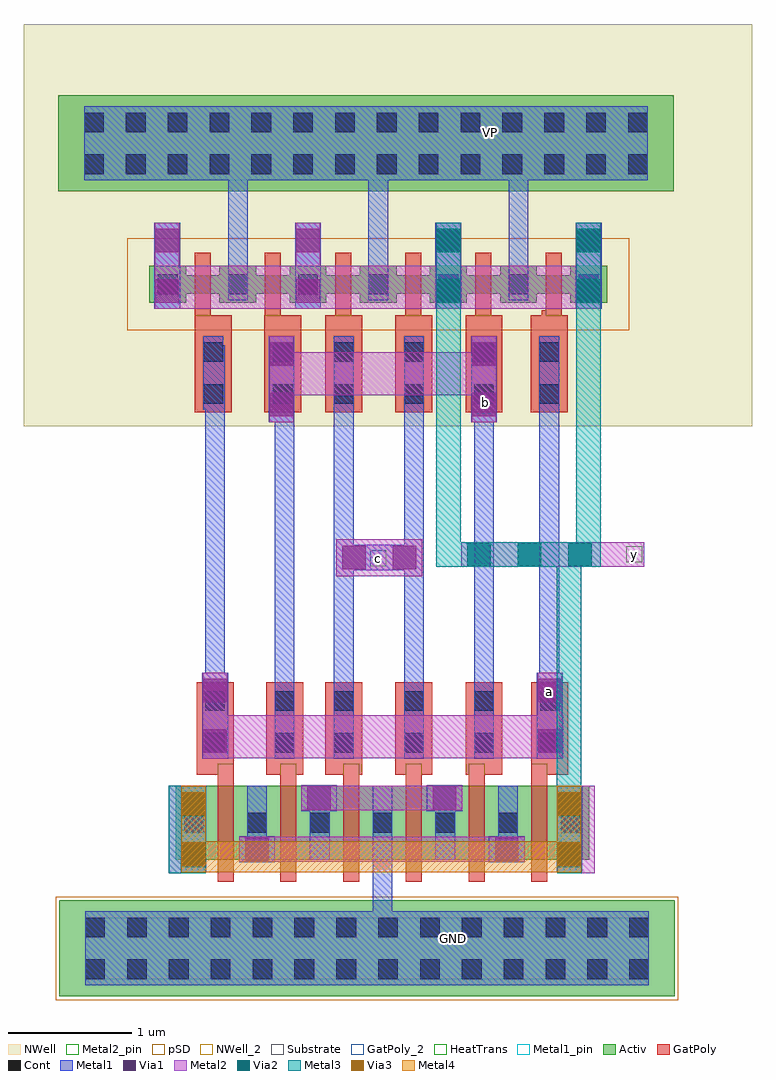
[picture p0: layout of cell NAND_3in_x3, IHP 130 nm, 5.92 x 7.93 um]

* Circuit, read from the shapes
.subckt NAND_3in_x3 GND VP a b c y
XM1 n1 a y GND sg13_lv_nmos w=0.6u l=0.13u m=2
XM2 n2 b n1 GND sg13_lv_nmos w=0.6u l=0.13u m=2
XM3 GND c n2 GND sg13_lv_nmos w=0.6u l=0.13u m=2
XM4 VP a y VP sg13_lv_pmos w=0.15u l=0.13u m=2
XM5 y b VP VP sg13_lv_pmos w=0.15u l=0.13u m=2
XM6 VP c y VP sg13_lv_pmos w=0.15u l=0.13u m=2
.ends

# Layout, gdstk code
from math import pi, radians
import gdstk
lib = gdstk.Library(unit=1e-6, precision=1e-09)
def R(c, l, rs):  # rectangles x0, y0, x1, y1
    for r in rs: c.add(gdstk.rectangle(r[:2], r[2:], *l))
def A(c, l, x, y, w, h, nx, ny, dx, dy):  # array of equal rectangles
    R(c, l, [(x+i*dx, y+j*dy, x+i*dx+w, y+j*dy+h) for i in range(nx) for j in range(ny)])
Activ = (1, 0)
GatPoly = (5, 0)
GatPoly_2 = (5, 2)
Cont = (6, 0)
Metal1 = (8, 0)
Metal1_pin = (8, 2)
Metal2 = (10, 0)
Metal2_pin = (10, 2)
pSD = (14, 0)
Via1 = (19, 0)
Via2 = (29, 0)
Metal3 = (30, 0)
NWell = (31, 0)
NWell_2 = (31, 2)
Substrate = (40, 0)
Via3 = (49, 0)
Metal4 = (50, 0)
HeatTrans = (51, 0)

via = lib.new_cell('Via')
R(via, Metal1, [(-0.105,-0.35,0.105,0.35)])
R(via, Metal2, [(-0.1,-0.35,0.1,0.35)])
R(via, Via1, [(-0.095,-0.3,0.095,-0.11), (-0.095,0.11,0.095,0.3)])

via_1 = lib.new_cell('Via$1')
R(via_1, Metal2, [(-0.1,-0.555,0.1,0.555)])
A(via_1, Via2, -0.095, -0.505, 0.19, 0.19, 1, 3, 0, 0.41)
R(via_1, Metal3, [(-0.1,-0.555,0.1,0.555)])

nmos = lib.new_cell('nmos')
A(nmos, Activ, 0, 0, 0.3, 0.3, 7, 1, 0.51, 0)
R(nmos, Activ, [(0,0,3.36,0.6)])
A(nmos, GatPoly, 0.34, -0.18, 0.13, 0.96, 6, 1, 0.51, 0)
R(nmos, GatPoly_2, [(0.34,-0.18,0.47,0.78)])
A(nmos, Cont, 0.07, 0.22, 0.16, 0.16, 7, 1, 0.51, 0)
A(nmos, Metal1, 0.07, 0, 0.16, 0.6, 7, 1, 0.51, 0)
R(nmos, Metal1_pin, [(0.07,0,0.23,0.6), (0.58,0,0.74,0.6)])
A(nmos, HeatTrans, 0.34, -0.18, 0.13, 0.96, 6, 1, 0.51, 0)
nmos.add(gdstk.Label('nmos', (0.405,0.3), layer=63, texttype=0))
nmos.add(gdstk.Label('nmos', (0.405,0.3), layer=51, texttype=0))
nmos.add(gdstk.Label('nmos', (0.915,0.3), layer=51, texttype=0))
nmos.add(gdstk.Label('nmos', (1.425,0.3), layer=51, texttype=0))
nmos.add(gdstk.Label('nmos', (1.935,0.3), layer=51, texttype=0))
nmos.add(gdstk.Label('nmos', (2.445,0.3), layer=51, texttype=0))
nmos.add(gdstk.Label('nmos', (2.955,0.3), layer=51, texttype=0))

ntap1 = lib.new_cell('ntap1')
R(ntap1, Activ, [(0,0,5,0.78)])
A(ntap1, Cont, 0.21, 0.14, 0.16, 0.16, 14, 2, 0.34, 0.34)
R(ntap1, Metal1, [(0.21,0.09,4.79,0.69)])
R(ntap1, Metal1_pin, [(0.21,0.09,4.79,0.69), (0.21,0.14,4.79,0.64)])
R(ntap1, NWell, [(-0.24,-0.24,5.24,1.02), (0,0,5,0.78)])
R(ntap1, NWell_2, [(0,0,5,0.78)])
ntap1.add(gdstk.Label('well', (2.5,0.01), layer=63, texttype=0))
ntap1.add(gdstk.Label('well', (2.5,0.01), layer=31, texttype=0))

ptap1 = lib.new_cell('ptap1')
R(ptap1, Activ, [(0,0,5,0.78)])
A(ptap1, Cont, 0.21, 0.14, 0.16, 0.16, 14, 2, 0.34, 0.34)
R(ptap1, Metal1, [(0.21,0.09,4.79,0.69), (0.21,0.14,4.79,0.64)])
R(ptap1, Metal1_pin, [(0.21,0.14,4.79,0.64)])
R(ptap1, pSD, [(-0.03,-0.03,5.03,0.81)])
R(ptap1, Substrate, [(0,0,5,0.78)])
ptap1.add(gdstk.Label('sub!', (2.5,0.01), layer=63, texttype=0))
ptap1.add(gdstk.Label('sub!', (2.5,0.01), layer=40, texttype=0))

via_4 = lib.new_cell('Via$4')
R(via_4, Metal3, [(-0.1,-0.35,0.1,0.35)])
R(via_4, Via3, [(-0.095,-0.3,0.095,-0.11), (-0.095,0.11,0.095,0.3)])
R(via_4, Metal4, [(-0.1,-0.35,0.1,0.35)])

via_2 = lib.new_cell('Via$2')
R(via_2, Metal2, [(-0.1,-0.35,0.1,0.35)])
R(via_2, Via2, [(-0.095,-0.3,0.095,-0.11), (-0.095,0.11,0.095,0.3)])
R(via_2, Metal3, [(-0.1,-0.35,0.1,0.35)])

via_3 = lib.new_cell('Via$3')
R(via_3, GatPoly, [(-0.32,-0.15,0.32,0.15)])
R(via_3, Cont, [(-0.25,-0.08,-0.09,0.08), (0.09,-0.08,0.25,0.08)])
R(via_3, Metal1, [(-0.3,-0.08,0.3,0.08)])

pmos = lib.new_cell('pmos')
A(pmos, Activ, 0, 0, 0.3, 0.3, 7, 1, 0.57, 0)
R(pmos, Activ, [(0,0.075,3.72,0.225)])
A(pmos, GatPoly, 0.37, -0.105, 0.13, 0.51, 6, 1, 0.57, 0)
R(pmos, GatPoly, [(0.37,-0.105,0.5,0.405)])
A(pmos, Cont, 0.07, 0.07, 0.16, 0.16, 7, 1, 0.57, 0)
A(pmos, Metal1, 0.64, 0.02, 0.16, 0.26, 6, 1, 0.57, 0)
R(pmos, Metal1, [(0.07,0.02,0.23,0.28), (0.07,0.02,0.23,0.28), (0.64,0.02,0.8,0.28)])
R(pmos, pSD, [(-0.18,-0.225,3.9,0.525)])
R(pmos, NWell, [(-0.31,-0.31,4.03,0.61)])
A(pmos, HeatTrans, 0.37, -0.105, 0.13, 0.51, 6, 1, 0.57, 0)
pmos.add(gdstk.Label('pmos', (0.435,0.15), layer=63, texttype=0))
pmos.add(gdstk.Label('pmos', (0.435,0.15), layer=51, texttype=0))
pmos.add(gdstk.Label('pmos', (1.005,0.15), layer=51, texttype=0))
pmos.add(gdstk.Label('pmos', (1.575,0.15), layer=51, texttype=0))
pmos.add(gdstk.Label('pmos', (2.145,0.15), layer=51, texttype=0))
pmos.add(gdstk.Label('pmos', (2.715,0.15), layer=51, texttype=0))
pmos.add(gdstk.Label('pmos', (3.285,0.15), layer=51, texttype=0))

via_5 = lib.new_cell('Via$5')
R(via_5, Metal1, [(-0.145,-0.105,0.145,0.105)])
R(via_5, Metal2, [(-0.145,-0.1,0.145,0.1)])
R(via_5, Via1, [(-0.095,-0.095,0.095,0.095)])

nand_3in_x3 = lib.new_cell('NAND_3in_x3')
A(nand_3in_x3, GatPoly, -0.54, -2.93, 0.3, 0.11, 3, 1, 0.57, 0)
A(nand_3in_x3, GatPoly, -0.54, 0.655, 0.3, 0.15, 3, 1, 0.57, 0)
R(nand_3in_x3, GatPoly, [(-1.585,-2.93,-1.285,-2.82), (-1.02,-2.93,-0.72,-2.82), (1.135,-2.93,1.435,-2.82), (-1.6,0.655,-1.3,0.805), (-1.035,0.655,-0.735,0.805), (1.13,0.655,1.43,0.805), (0.68,0.755,0.81,0.845), (1.22,0.755,1.35,0.845)])
R(nand_3in_x3, Metal1, [(-0.155,-4.075,0.005,-3.295), (-1.515,-2.44,-1.355,0.56), (-0.95,-2.44,-0.79,0.05), (0.67,-2.44,0.83,0.05), (-0.47,-2.38,-0.31,0.175), (0.1,-2.38,0.26,0.245), (1.2,-2.21,1.36,-1.27), (1.2,-1.31,1.36,-0.37), (1.2,-0.455,1.36,0.075), (0.95,1.005,1.11,2.015), (-1.33,1.07,-1.17,2.065), (-0.19,1.075,-0.03,2.065)])
R(nand_3in_x3, Metal1_pin, [(0.44,-4.33,0.57,-4.2), (0.74,2.225,0.87,2.355)])
R(nand_3in_x3, Metal2, [(-1.81,-3.73,-1.7,-3.02), (1.54,-3.73,1.65,-3.02), (-1.005,-3.635,1.015,-3.435), (-0.53,-3.22,0.43,-3.02), (-1.475,-2.795,1.395,-2.445), (-0.45,-1.315,0.25,-1.015), (1.62,-1.24,2.05,-1.04), (-0.895,0.155,0.83,0.505), (-1.925,0.855,1.7,1.205)])
R(nand_3in_x3, Metal2_pin, [(1.225,-2.31,1.355,-2.18), (-0.175,-1.235,-0.045,-1.105), (1.905,-1.205,2.035,-1.075), (0.69,0.005,0.82,0.135), (0.69,0.005,0.82,0.135)])
R(nand_3in_x3, Metal3, [(-1.81,-3.73,-1.71,-3.02), (1.34,-3.03,1.54,-2.83), (1.34,-2.83,1.54,-2.425), (1.34,-2.5,1.54,-1.15), (0.36,-1.24,0.56,-0.97), (0.38,-1.24,0.565,-1.04), (1.66,-1.24,1.7,-1.09), (1.5,-1.09,1.7,0.17), (0.36,-0.97,0.56,0.26), (1.5,0.045,1.7,1.02), (0.36,0.155,0.56,0.855)])
R(nand_3in_x3, NWell, [(-2.99,-0.1,2.93,3.17)])
R(nand_3in_x3, Metal4, [(-1.7,-3.72,1.54,-3.47)])
nand_3in_x3.add(gdstk.Reference(via, (1.285,-2.45), rotation=pi))
nand_3in_x3.add(gdstk.Reference(via, (0.75,0.285), rotation=pi))
nand_3in_x3.add(gdstk.Reference(via, (0.46,1.205), rotation=pi))
nand_3in_x3.add(gdstk.Reference(via, (1.6,1.205), rotation=pi))
nand_3in_x3.add(gdstk.Reference(via_1, (1.12,-1.14), rotation=3*pi/2))
nand_3in_x3.add(gdstk.Reference(nmos, (1.605,-3.02), rotation=pi))
nand_3in_x3.add(gdstk.Reference(ntap1, (-2.71,1.81)))
nand_3in_x3.add(gdstk.Reference(ptap1, (-2.7,-4.73)))
nand_3in_x3.add(gdstk.Reference(via_4, (1.44,-3.37), rotation=pi))
nand_3in_x3.add(gdstk.Reference(via_2, (0.46,1.205), rotation=pi))
nand_3in_x3.add(gdstk.Reference(via_2, (1.6,1.205), rotation=pi))
nand_3in_x3.add(gdstk.Reference(via_3, (0.75,-2.5), rotation=3*pi/2))
nand_3in_x3.add(gdstk.Reference(via_3, (1.285,-2.5), rotation=3*pi/2))
nand_3in_x3.add(gdstk.Reference(via_3, (0.75,0.335), rotation=3*pi/2))
nand_3in_x3.add(gdstk.Reference(via_3, (1.28,0.335), rotation=3*pi/2))
nand_3in_x3.add(gdstk.Reference(pmos, (1.75,1.205), rotation=pi))
nand_3in_x3.add(gdstk.Reference(via_3, (0.18,0.335), rotation=3*pi/2))
nand_3in_x3.add(gdstk.Reference(via_3, (0.18,-2.5), rotation=3*pi/2))
nand_3in_x3.add(gdstk.Reference(via_3, (-0.39,0.335), rotation=3*pi/2))
nand_3in_x3.add(gdstk.Reference(via_3, (-0.39,-2.5), rotation=3*pi/2))
nand_3in_x3.add(gdstk.Reference(via, (-0.1,-1.165), rotation=3*pi/2))
nand_3in_x3.add(gdstk.Reference(via, (-0.68,1.205), rotation=pi))
nand_3in_x3.add(gdstk.Reference(via, (-1.825,1.205), rotation=pi))
nand_3in_x3.add(gdstk.Reference(via, (0.75,0.285), rotation=pi))
nand_3in_x3.add(gdstk.Reference(via_3, (0.75,0.335), rotation=3*pi/2))
nand_3in_x3.add(gdstk.Reference(via_3, (-0.885,0.335), rotation=3*pi/2))
nand_3in_x3.add(gdstk.Reference(via, (-0.895,0.285), rotation=pi))
nand_3in_x3.add(gdstk.Reference(via_3, (-0.885,0.335), rotation=3*pi/2))
nand_3in_x3.add(gdstk.Reference(via, (-0.895,0.285), rotation=pi))
nand_3in_x3.add(gdstk.Reference(via_3, (-0.87,-2.5), rotation=3*pi/2))
nand_3in_x3.add(gdstk.Reference(via, (-1.435,-2.45), rotation=pi))
nand_3in_x3.add(gdstk.Reference(via_3, (-1.435,-2.5), rotation=3*pi/2))
nand_3in_x3.add(gdstk.Reference(via_3, (-1.45,0.335), rotation=3*pi/2))
nand_3in_x3.add(gdstk.Reference(via, (-1.61,-3.37), rotation=pi))
nand_3in_x3.add(gdstk.Reference(via_2, (1.445,-3.38), rotation=pi))
nand_3in_x3.add(gdstk.Reference(via_2, (-1.61,-3.38), rotation=pi))
nand_3in_x3.add(gdstk.Reference(via_4, (-1.61,-3.37), rotation=pi))
nand_3in_x3.add(gdstk.Reference(via, (1.445,-3.37), rotation=pi))
nand_3in_x3.add(gdstk.Reference(via_5, (-0.59,-3.12)))
nand_3in_x3.add(gdstk.Reference(via_5, (0.43,-3.12)))
nand_3in_x3.add(gdstk.Reference(via_5, (-1.095,-3.535)))
nand_3in_x3.add(gdstk.Reference(via_5, (0.935,-3.535)))
nand_3in_x3.add(gdstk.Label('GND', (0.505,-4.26), layer=8, texttype=25))
nand_3in_x3.add(gdstk.Label('VP', (0.8,2.285), layer=8, texttype=25))
nand_3in_x3.add(gdstk.Label('a', (1.285,-2.25), layer=10, texttype=25))
nand_3in_x3.add(gdstk.Label('b', (0.76,0.095), layer=10, texttype=25))
nand_3in_x3.add(gdstk.Label('b', (0.76,0.095), layer=10, texttype=25))
nand_3in_x3.add(gdstk.Label('c', (-0.11,-1.175), layer=10, texttype=25))
nand_3in_x3.add(gdstk.Label('y', (1.97,-1.14), layer=10, texttype=25))

lib.write_gds('NAND_3in_x3.gds')
